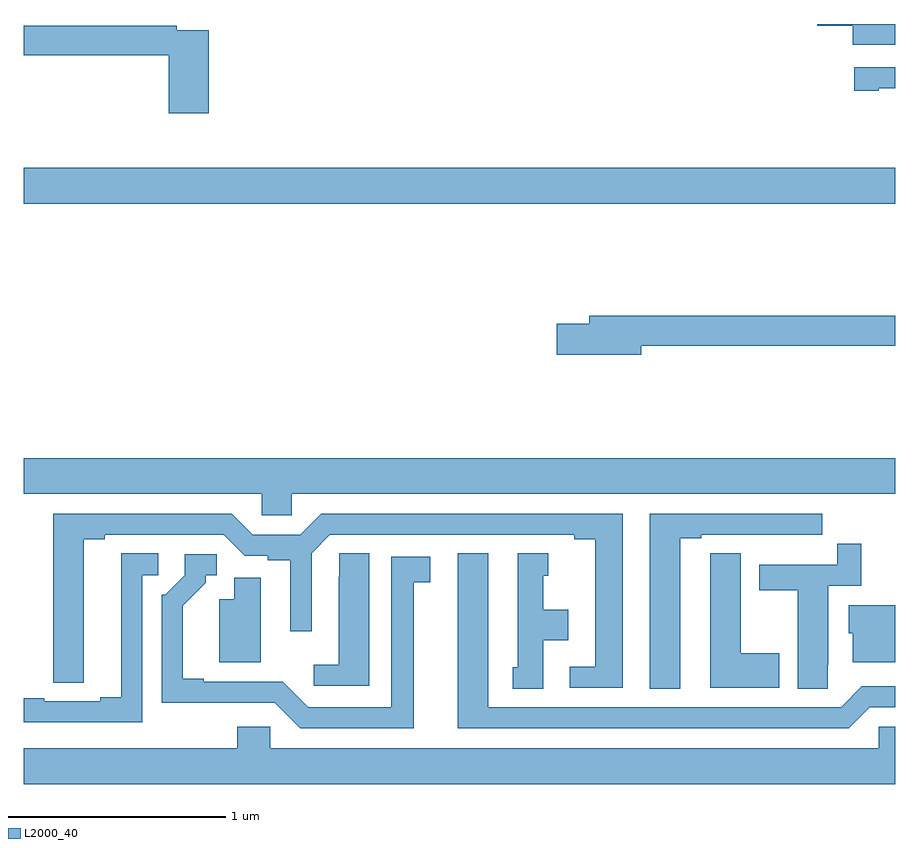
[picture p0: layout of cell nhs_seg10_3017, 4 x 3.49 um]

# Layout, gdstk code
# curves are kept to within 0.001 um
import gdstk
lib = gdstk.Library(unit=1e-6, precision=1e-09)
def R(c, l, rs):  # rectangles x0, y0, x1, y1
    for r in rs: c.add(gdstk.rectangle(r[:2], r[2:], *l))
def P(c, l, *ps):  # polygons
    for p in ps: c.add(gdstk.Polygon(p, *l))
L2000_40 = (2000, 40)

nhs_seg10_3017 = lib.new_cell('nhs_seg10_3017')
R(nhs_seg10_3017, L2000_40, [(275,1273.676,279,1273.84)])
P(nhs_seg10_3017, L2000_40, [(279,1274.5),(278.643,1274.5),(278.643,1274.492),(278.804,1274.492),(278.804,1274.405),(279,1274.405)],
  [(275.849,1274.472),(275.702,1274.472),(275.702,1274.492),(275,1274.492),(275,1274.356),(275.666,1274.356),(275.666,1274.091),(275.849,1274.091)],
  [(278.923,1274.205),(279,1274.205),(279,1274.301),(278.811,1274.301),(278.811,1274.193),(278.923,1274.193)],
  [(277.834,1273.024),(279,1273.024),(279,1273.16),(277.595,1273.16),(277.595,1273.124),(277.446,1273.124),(277.446,1272.982),(277.834,1272.982)],
  [(276.231,1272.344),(279,1272.344),(279,1272.508),(275,1272.508),(275,1272.344),(276.093,1272.344),(276.093,1272.246),(276.231,1272.246)],
  [(278.014,1272.141),(278.11,1272.141),(278.11,1272.156),(278.386,1272.156),(278.386,1272.155),(278.552,1272.155),(278.552,1272.156),(278.665,1272.156),(278.665,1272.252),(277.874,1272.252),(277.874,1271.449),(278.014,1271.449)],
  [(277.75,1272.252),(276.365,1272.252),(276.269,1272.156),(276.051,1272.156),(275.955,1272.252),(275.135,1272.252),(275.136,1271.476),(275.275,1271.476),(275.275,1272.136),(275.371,1272.136),(275.371,1272.156),(275.919,1272.156),(276.015,1272.06),(276.12,1272.06),(276.12,1272.04),(276.224,1272.04),(276.224,1271.712),(276.321,1271.712),(276.321,1272.072),(276.405,1272.156),(277.526,1272.156),(277.526,1272.136),(277.622,1272.136),(277.622,1271.55),(277.506,1271.55),(277.506,1271.454),(277.75,1271.454)],
  [(278.691,1271.56),(278.692,1271.56),(278.692,1271.922),(278.843,1271.922),(278.843,1272.115),(278.734,1272.115),(278.734,1272.018),(278.375,1272.018),(278.375,1271.902),(278.552,1271.902),(278.552,1271.449),(278.691,1271.449)],
  [(276.586,1272.071),(276.447,1272.071),(276.447,1271.963),(276.446,1271.963),(276.446,1271.56),(276.33,1271.56),(276.33,1271.463),(276.586,1271.463)],
  [(278.467,1271.613),(278.29,1271.613),(278.29,1272.071),(278.151,1272.071),(278.151,1271.963),(278.15,1271.963),(278.15,1271.453),(278.467,1271.453)],
  [(275.544,1271.97),(275.617,1271.97),(275.617,1272.071),(275.447,1272.071),(275.447,1271.411),(275.351,1271.411),(275.351,1271.391),(275.095,1271.391),(275.095,1271.406),(275,1271.406),(275,1271.295),(275.544,1271.295)],
  [(277.384,1271.672),(277.498,1271.672),(277.498,1271.812),(277.384,1271.812),(277.384,1271.967),(277.408,1271.967),(277.408,1272.07),(277.268,1272.07),(277.268,1271.547),(277.244,1271.547),(277.244,1271.449),(277.384,1271.449)],
  [(278.883,1271.364),(279,1271.364),(279,1271.46),(278.847,1271.46),(278.751,1271.364),(277.132,1271.364),(277.132,1272.07),(276.992,1272.07),(276.992,1271.268),(278.787,1271.268)],
  [(276.79,1271.938),(276.865,1271.938),(276.865,1272.054),(276.686,1272.054),(276.686,1271.364),(276.306,1271.364),(276.189,1271.481),(275.827,1271.481),(275.827,1271.494),(275.731,1271.494),(275.731,1271.83),(275.836,1271.935),(275.836,1271.97),(275.886,1271.97),(275.886,1272.066),(275.739,1272.066),(275.739,1271.97),(275.649,1271.88),(275.634,1271.88),(275.634,1271.384),(276.153,1271.385),(276.27,1271.268),(276.79,1271.268)],
  [(276.088,1271.958),(275.966,1271.958),(275.966,1271.86),(275.897,1271.86),(275.897,1271.57),(276.088,1271.57)],
  [(279,1271.833),(278.786,1271.833),(278.786,1271.703),(278.804,1271.703),(278.804,1271.57),(279,1271.57)],
  [(279,1271.274),(278.925,1271.274),(278.925,1271.176),(276.132,1271.176),(276.132,1271.274),(275.981,1271.274),(275.981,1271.176),(275,1271.176),(275,1271.012),(279,1271.012)])

lib.write_gds('nhs_seg10_3017.gds')
